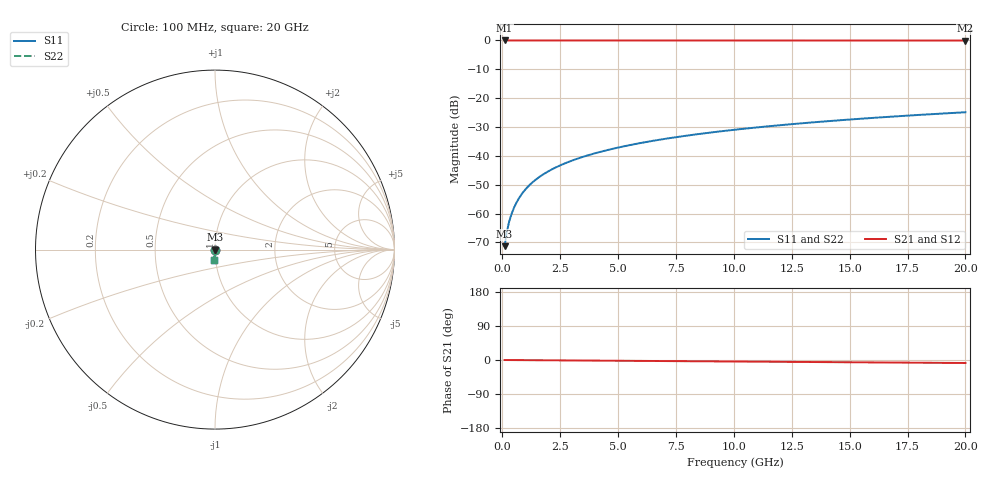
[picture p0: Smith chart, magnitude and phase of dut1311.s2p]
! Touchstone file exported from HFSS 2026.1.0
!  File:  C:/ffzhzh/LocalFiles/Ansys_Project_Files/temp_train_TSV_1311_1783194939_43440.aedt
!  Generated:  03:57:01 AM Jul  5, 2026
!  Design:  TSV
!  Project:  temp_train_TSV_1311_1783194939_43440
! Variables:
!  h_bsmrdl = 2um
!  h_ox = 20um
!  h_rdl = 5um
!  h_sub = 77.3um
!  h_tmrdl = 5um
!  h_tsv = 77.3um
!  h_via = 3um
!  l_bsmrdl = 300um
!  l_sub = 419.1um
!  l_tmrdl = 200um
!  m_sub = 200um
!  pitch = 26.79um
!  r_tsv = 9.55um
!  s_tmrdl = 10um
!  w_bsmrdl = 18um
!  w_sub = 500um
!  w_tmrdl = 12um
!  x_tsv_center1 = 206um
!  x_tsv_center2 = 524um
!  x_tsv_center3 = 736um
!  x_tsv_center4 = 1054um
!  x_tsv_center5 = 1266um
!  x_tsv_center6 = 1584um
# GHz S MA R 50.000000
! Terminal data exported
! Port[1] = TSV1_1_T1
! Port[2] = TSV1_1_T2
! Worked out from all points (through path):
!   200 points, 100 MHz to 20 GHz, reference 50 ohm
!   highest |S21| = 0.00 dB at 100 MHz (marker M1); lowest = 0.0 dB at 20 GHz (marker M2)
!   group delay of S21, straight-line fit = 1.1 ps
!   lowest |S11| = -71.3 dB at 100 MHz (marker M3), VSWR 1.00, Z = 50 - j0.0231 ohm
!   |S11| at or under -10 dB: start of sweep to end of sweep
!   |S22| runs from -71.3 to -24.9 dB; largest |S21 - S12| = 4.6e-15
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0.1  0.0002728 -57.8  0.9999 -0.0  0.9999 -0.0  0.0002728 -57.8
! Gamma 0 0 0 0
! Port Impedance 50 0 50 0
0.2  0.000494 -70.7  0.9998 -0.1  0.9998 -0.1  0.000494 -70.7
0.3  0.0007347 -75.2  0.9998 -0.1  0.9998 -0.1  0.0007347 -75.2
0.4  0.0009874 -77.3  0.9998 -0.2  0.9998 -0.2  0.0009874 -77.3
0.5  0.001249 -78.6  0.9997 -0.2  0.9997 -0.2  0.001249 -78.6
0.7  0.001792 -80.4  0.9997 -0.3  0.9997 -0.3  0.001792 -80.4
0.8  0.002068 -81.1  0.9997 -0.3  0.9997 -0.3  0.002068 -81.1
1  0.002627 -82.3  0.9996 -0.4  0.9996 -0.4  0.002627 -82.3
1.2  0.003189 -83.2  0.9996 -0.5  0.9996 -0.5  0.003189 -83.2
1.4  0.003752 -84.0  0.9996 -0.6  0.9996 -0.6  0.003752 -84.0
1.7  0.004596 -84.9  0.9995 -0.7  0.9995 -0.7  0.004596 -84.9
2  0.005441 -85.6  0.9995 -0.8  0.9995 -0.8  0.005441 -85.6
2.7  0.007412 -86.8  0.9994 -1.1  0.9994 -1.1  0.007412 -86.8
3.5  0.009672 -87.7  0.9993 -1.4  0.9993 -1.4  0.009672 -87.7
4.2  0.01166 -88.3  0.9992 -1.7  0.9992 -1.7  0.01166 -88.3
5  0.01394 -88.9  0.9991 -2.0  0.9991 -2.0  0.01394 -88.9
6.8  0.01909 -90.0  0.9989 -2.7  0.9989 -2.7  0.01909 -90.0
8.3  0.0234 -90.9  0.9987 -3.3  0.9987 -3.3  0.0234 -90.9
10.1  0.02857 -91.8  0.9985 -4.0  0.9985 -4.0  0.02857 -91.8
13.4  0.03807 -93.4  0.998 -5.3  0.998 -5.3  0.03807 -93.4
16.7  0.04755 -94.9  0.9975 -6.6  0.9975 -6.6  0.04755 -94.9
20  0.05703 -96.4  0.9968 -7.9  0.9968 -7.9  0.05703 -96.4
